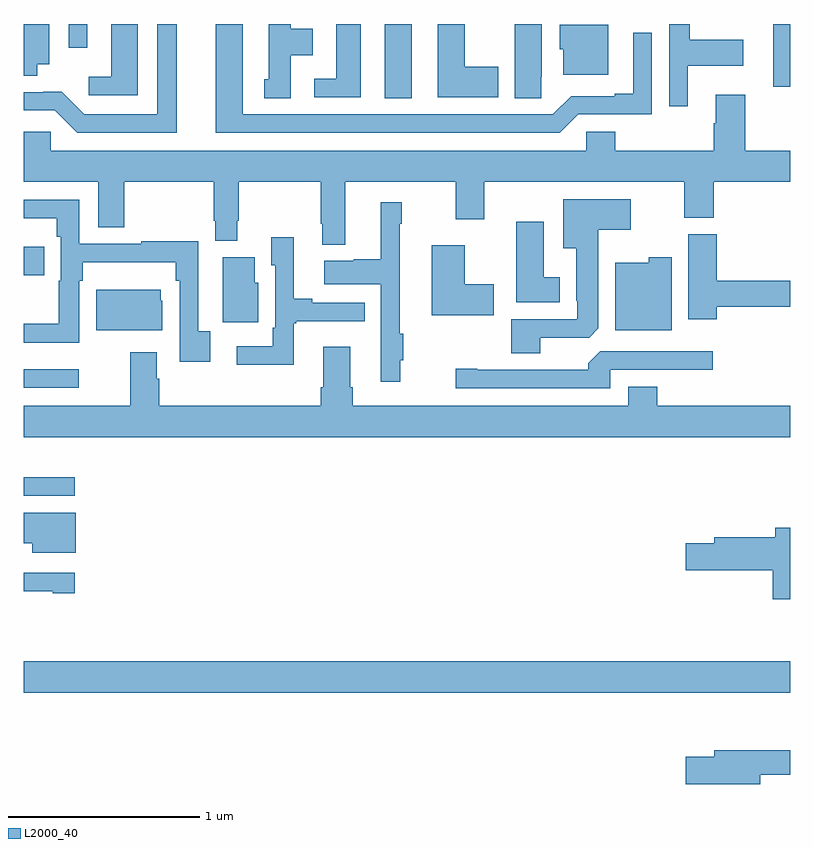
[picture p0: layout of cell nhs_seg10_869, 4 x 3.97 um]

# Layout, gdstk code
import gdstk
lib = gdstk.Library(unit=1e-6, precision=1e-09)
def R(c, l, rs):  # rectangles x0, y0, x1, y1
    for r in rs: c.add(gdstk.rectangle(r[:2], r[2:], *l))
def P(c, l, *ps):  # polygons
    for p in ps: c.add(gdstk.Polygon(p, *l))
L2000_40 = (2000, 40)

nhs_seg10_869 = lib.new_cell('nhs_seg10_869')
R(nhs_seg10_869, L2000_40, [(155,1271.012,159,1271.176), (155,1272.039,155.266,1272.135), (155,1272.603,155.287,1272.7), (155,1273.19,155.108,1273.339), (156.884,1274.113,157.024,1274.5), (158.912,1274.172,159,1274.5), (155.235,1274.376,155.331,1274.5)])
P(nhs_seg10_869, L2000_40, [(155.071,1274.291),(155.134,1274.291),(155.134,1274.5),(155,1274.5),(155,1274.23),(155.071,1274.23)],
  [(157.477,1274.277),(157.3,1274.277),(157.3,1274.5),(157.16,1274.5),(157.16,1274.117),(157.477,1274.117)],
  [(155.596,1274.5),(155.456,1274.5),(155.456,1274.224),(155.34,1274.224),(155.34,1274.127),(155.596,1274.127)],
  [(158.464,1274.282),(158.755,1274.282),(158.755,1274.417),(158.476,1274.417),(158.476,1274.5),(158.367,1274.5),(158.367,1274.07),(158.464,1274.07)],
  [(156.394,1274.336),(156.508,1274.336),(156.508,1274.476),(156.394,1274.476),(156.394,1274.5),(156.278,1274.5),(156.278,1274.211),(156.254,1274.211),(156.254,1274.113),(156.394,1274.113)],
  [(155.8,1274.5),(155.696,1274.5),(155.696,1274.028),(155.316,1274.028),(155.198,1274.146),(155.102,1274.146),(155.102,1274.145),(155,1274.145),(155,1274.049),(155.163,1274.049),(155.28,1273.932),(155.8,1273.932)],
  [(157.893,1274.028),(158.277,1274.028),(158.277,1274.455),(158.18,1274.455),(158.18,1274.137),(158.084,1274.137),(158.084,1274.124),(157.857,1274.124),(157.761,1274.028),(156.142,1274.028),(156.142,1274.5),(156.002,1274.5),(156.002,1273.932),(157.797,1273.932)],
  [(157.701,1274.224),(157.702,1274.224),(157.702,1274.5),(157.562,1274.5),(157.562,1274.113),(157.701,1274.113)],
  [(156.76,1274.5),(156.632,1274.5),(156.632,1274.214),(156.516,1274.214),(156.516,1274.118),(156.76,1274.118)],
  [(158.05,1274.497),(157.796,1274.497),(157.796,1274.367),(157.814,1274.367),(157.814,1274.234),(158.05,1274.234)],
  [(156.679,1273.676),(157.255,1273.676),(157.255,1273.482),(157.402,1273.482),(157.402,1273.676),(158.447,1273.676),(158.447,1273.489),(158.6,1273.489),(158.6,1273.676),(159,1273.676),(159,1273.84),(158.765,1273.84),(158.765,1274.131),(158.612,1274.131),(158.612,1273.982),(158.6,1273.982),(158.6,1273.84),(158.087,1273.84),(158.087,1273.938),(157.935,1273.938),(157.935,1273.84),(155.142,1273.84),(155.142,1273.938),(155,1273.938),(155,1273.676),(155.39,1273.676),(155.39,1273.44),(155.526,1273.44),(155.526,1273.676),(155.992,1273.676),(155.992,1273.474),(155.999,1273.474),(155.999,1273.369),(156.115,1273.369),(156.115,1273.474),(156.123,1273.474),(156.123,1273.676),(156.55,1273.676),(156.55,1273.459),(156.557,1273.459),(156.557,1273.349),(156.679,1273.349)],
  [(157.696,1272.864),(157.95,1272.864),(157.999,1272.913),(157.999,1273.427),(158.167,1273.427),(158.167,1273.585),(157.814,1273.585),(157.814,1273.331),(157.883,1273.331),(157.883,1273.057),(157.887,1273.057),(157.887,1272.96),(157.544,1272.96),(157.544,1272.781),(157.696,1272.781)],
  [(155.974,1272.897),(155.91,1272.897),(155.91,1273.366),(155.614,1273.366),(155.614,1273.353),(155.289,1273.353),(155.289,1273.584),(155,1273.584),(155,1273.487),(155.173,1273.487),(155.173,1273.391),(155.193,1273.391),(155.193,1273.16),(155.183,1273.16),(155.183,1272.936),(155,1272.936),(155,1272.836),(155.289,1272.836),(155.289,1273.16),(155.309,1273.16),(155.309,1273.256),(155.794,1273.256),(155.794,1273.16),(155.814,1273.16),(155.814,1272.738),(155.974,1272.738)],
  [(156.965,1272.745),(156.98,1272.745),(156.98,1272.884),(156.961,1272.884),(156.961,1273.457),(156.973,1273.457),(156.973,1273.57),(156.863,1273.57),(156.863,1273.272),(156.723,1273.272),(156.723,1273.264),(156.567,1273.264),(156.567,1273.142),(156.864,1273.142),(156.864,1272.899),(156.863,1272.899),(156.863,1272.633),(156.965,1272.633)],
  [(157.798,1273.18),(157.714,1273.18),(157.714,1273.468),(157.571,1273.468),(157.571,1273.049),(157.798,1273.049)],
  [(158.615,1273.024),(159,1273.024),(159,1273.16),(158.615,1273.16),(158.615,1273.404),(158.468,1273.404),(158.468,1272.96),(158.615,1272.96)],
  [(156.409,1272.939),(156.421,1272.939),(156.421,1272.95),(156.779,1272.95),(156.779,1273.047),(156.505,1273.047),(156.505,1273.067),(156.409,1273.067),(156.409,1273.387),(156.293,1273.387),(156.293,1273.242),(156.312,1273.242),(156.312,1272.916),(156.3,1272.916),(156.3,1272.819),(156.111,1272.819),(156.111,1272.722),(156.409,1272.722)],
  [(157.453,1273.143),(157.3,1273.143),(157.3,1273.345),(157.13,1273.345),(157.13,1272.98),(157.453,1272.98)],
  [(156.223,1273.149),(156.205,1273.149),(156.205,1273.284),(156.038,1273.284),(156.038,1273.048),(156.039,1273.048),(156.039,1272.945),(156.223,1272.945)],
  [(158.38,1273.282),(158.262,1273.282),(158.262,1273.255),(158.087,1273.255),(158.087,1272.902),(158.38,1272.902)],
  [(155.722,1273.056),(155.716,1273.056),(155.716,1273.114),(155.378,1273.114),(155.378,1272.902),(155.722,1272.902)],
  [(159,1272.508),(158.306,1272.508),(158.306,1272.607),(158.153,1272.607),(158.153,1272.508),(156.716,1272.508),(156.716,1272.604),(156.703,1272.604),(156.703,1272.817),(156.563,1272.817),(156.563,1272.604),(156.551,1272.604),(156.551,1272.508),(155.708,1272.508),(155.708,1272.65),(155.695,1272.65),(155.695,1272.787),(155.555,1272.787),(155.555,1272.508),(155,1272.508),(155,1272.344),(159,1272.344)],
  [(158.061,1272.696),(158.596,1272.696),(158.596,1272.792),(158.007,1272.792),(157.946,1272.73),(157.946,1272.696),(157.366,1272.696),(157.366,1272.701),(157.254,1272.701),(157.254,1272.6),(158.061,1272.6)],
  [(155.272,1271.95),(155,1271.95),(155,1271.792),(155.045,1271.792),(155.045,1271.741),(155.272,1271.741)],
  [(159,1271.872),(158.921,1271.872),(158.921,1271.822),(158.603,1271.822),(158.603,1271.792),(158.454,1271.792),(158.454,1271.65),(158.909,1271.65),(158.909,1271.499),(159,1271.499)],
  [(155.266,1271.637),(155,1271.637),(155,1271.541),(155.153,1271.541),(155.153,1271.529),(155.266,1271.529)],
  [(158.842,1270.582),(159,1270.582),(159,1270.711),(158.603,1270.711),(158.603,1270.677),(158.454,1270.677),(158.454,1270.535),(158.842,1270.535)])

lib.write_gds('nhs_seg10_869.gds')
